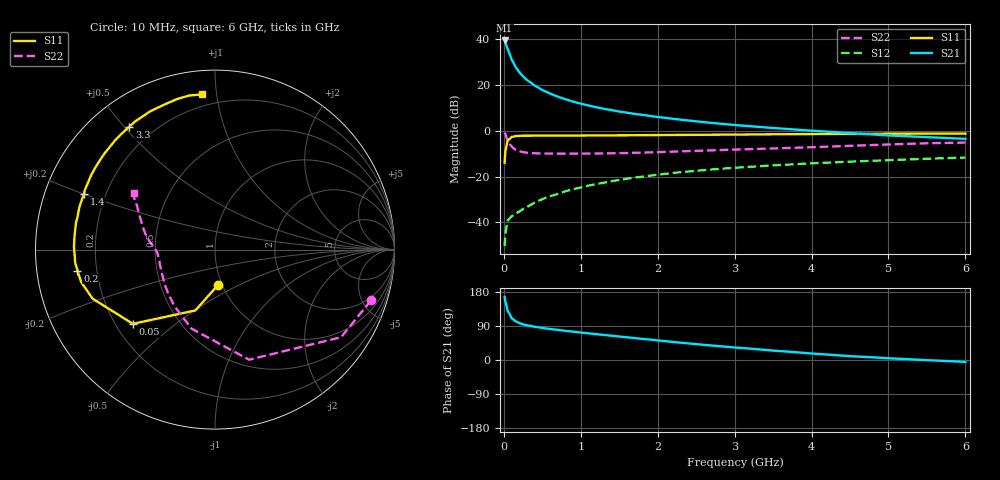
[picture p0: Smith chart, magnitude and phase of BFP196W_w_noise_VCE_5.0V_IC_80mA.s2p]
! (c) 2017  Infineon Technologies AG, Munich
! Infineon Technologies  Discrete & RF Semiconductors
! BFP196W
! VCE =  5.0 V,  IC =  80 mA
! Common Emitter S-Parameters:  Jan 2017
# GHz  S  MA  R  50
!  f  S11  S21  S12  S22
! GHz  MAG  ANG  MAG  ANG  MAG  ANG  MAG  ANG
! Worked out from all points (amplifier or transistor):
!   77 points, 10 MHz to 6 GHz, reference 50 ohm
!   highest |S21| = 39.5 dB at 10 MHz (marker M1)
!   |S21| within 3 dB of that: start of sweep to 41.7 MHz
!   unconditionally stable (mu >= 1): 564 MHz to 3.244 GHz
!   at 130 MHz: K = 0.54, MSG = 33.1 dB, |S12| = -36.7 dB
!   at 2.2 GHz: K = 1.03, MAG = 10.7 dB, |S12| = -18.4 dB
!   at 6 GHz: K = 0.95, MSG = 4.1 dB, |S12| = -11.7 dB
!   lowest NFmin = 1.68 dB at 450 MHz
!   S11 on the Smith chart (normalised r, x): 10 MHz: 0.95, -0.40; 50 MHz: 0.27, -0.36; 200 MHz: 0.13, -0.07; 1.4 GHz: 0.12, +0.20; 3.3 GHz: 0.11, +0.52; 6 GHz: 0.13, +0.91
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0.01  0.2005 -85.9  94.8 166.6  0.003 76.7  0.9143 -18.0
0.02  0.3562 -107.9  87.44 153.6  0.0055 67.8  0.8556 -34.8
0.05  0.6168 -137.9  61.33 128.2  0.0109 49.6  0.6422 -72.8
0.1  0.7348 -158.2  36.56 110.2  0.0134 46.1  0.4591 -106.6
0.15  0.7674 -166.4  25.35 102.4  0.0155 46.9  0.3882 -125.4
0.2  0.7751 -171.3  19.25 97.4  0.0171 51.2  0.3586 -136.4
0.25  0.7826 -174.7  15.48 94.0  0.0196 53.7  0.3421 -144.4
0.3  0.7821 -177.2  12.94 91.6  0.0215 55.0  0.3322 -149.8
0.4  0.786 179.0  9.78 87.6  0.0268 59.6  0.3234 -157.0
0.5  0.7858 175.8  7.827 84.6  0.032 62.4  0.3191 -161.7
0.6  0.7865 173.3  6.544 81.8  0.0371 63.3  0.3186 -165.0
0.7  0.7869 171.2  5.604 79.5  0.0416 65.4  0.3163 -167.4
0.9  0.787 166.7  4.354 74.7  0.0528 65.7  0.3165 -170.9
1.1  0.7918 162.6  3.587 70.4  0.0633 66.2  0.3185 -173.5
1.4  0.7932 156.9  2.839 64.0  0.0791 64.6  0.3228 -176.9
1.7  0.8012 151.3  2.353 57.9  0.0947 62.7  0.3307 -179.9
2.1  0.8095 144.0  1.92 49.7  0.1148 59.0  0.3461 176.6
3.1  0.8301 127.9  1.301 31.6  0.1595 49.4  0.3931 168.1
3.3  0.8345 124.9  1.225 28.4  0.1673 47.7  0.4021 166.3
4.1  0.8512 113.9  0.984 15.8  0.1979 40.5  0.444 158.4
5.1  0.8658 103.1  0.78 3.6  0.2314 32.3  0.5093 149.6
6  0.8676 94.8  0.669 -5.0  0.2608 25.3  0.5533 145.1
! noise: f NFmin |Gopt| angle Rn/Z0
0.45  1.68  0.56  -175  0.06
0.9  1.8  0.59  -169  0.08
1.9  2.67  0.7  -148  0.2
2.4  3.09  0.74  -143  0.32
